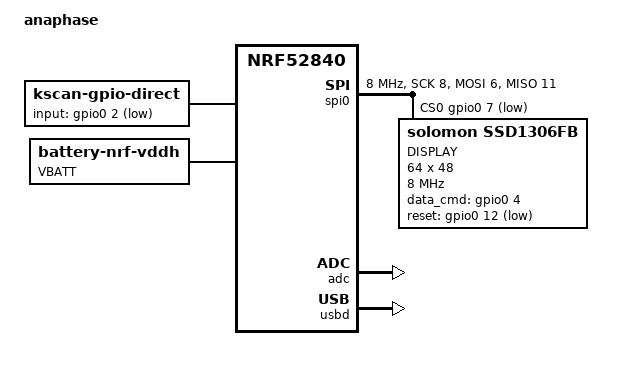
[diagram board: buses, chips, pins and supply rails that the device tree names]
/**
 * Copyright (c) 2021
 *
 * SPDX-License-Identifier: MIT
 */

/dts-v1/;
#include <nordic/nrf52840_qiaa.dtsi>
#include <dt-bindings/zmk/matrix_transform.h>

/ {
    model = "anaphase";
    compatible = "reversebias,anaphase";

    chosen {
        zephyr,code-partition = &code_partition;
        zephyr,sram = &sram0;
        zephyr,flash = &flash0;
        zmk,kscan = &kscan0;
        zmk,battery = &vbatt;
    };

    kscan0: kscan {
        compatible = "zmk,kscan-gpio-direct";
        label = "KSCAN";

        input-gpios
            = <&gpio0 2 (GPIO_ACTIVE_LOW | GPIO_PULL_UP)>
            ;
    };

    vbatt: vbatt {
        compatible = "zmk,battery-nrf-vddh";
        label = "VBATT";
    };
};

&spi0 {
    compatible = "nordic,nrf-spim";
    status = "okay";
    sck-pin = <8>;
    mosi-pin = <6>;
    cs-gpios = <&gpio0 7 GPIO_ACTIVE_LOW>;
    clock-frequency = <8000000>;
    miso-pull-down;
    // unused pin, but needed by SPI definition
    miso-pin = <11>;

    oled: ssd1306@0 {
        compatible = "solomon,ssd1306fb";
        reg = <0>;
        label = "DISPLAY";
        data_cmd-gpios = <&gpio0 4 0>;
        reset-gpios = <&gpio0 12 GPIO_ACTIVE_LOW>;
        spi-max-frequency = <8000000>;
        width = <64>;
        height = <48>;
        segment-offset = <0>;
        page-offset = <0>;
        display-offset = <0>;
        multiplex-ratio = <31>;
        com-sequential;
        prechargep = <0x22>;
    };
};

&adc {
    status = "okay";
};

&gpiote {
    status = "okay";
};

&gpio0 {
    status = "okay";
};

&gpio1 {
    status = "okay";
};

&usbd {
    status = "okay";
};

&flash0 {
    // For more information, see
    // https://docs.zephyrproject.org/latest/reference/storage/flash_map/flash_map.html
    partitions {
        compatible = "fixed-partitions";
        #address-cells = <1>;
        #size-cells = <1>;

        sd_partition: partition@0 {
            label = "softdevice";
            reg = <0x00000000 0x00026000>;
        };
        code_partition: partition@1000 {
            label = "code_partition";
            reg = <0x00001000 0x000d3000>;
        };

        // The flash starting at 0x000d4000 and ending at
        // 0x000f3fff is reserved for use by the application.

        // Storage partition will be used by FCB/LittleFS/NVS if enabled.
        storage_partition: partition@d4000 {
            label = "storage";
            reg = <0x000d4000 0x00020000>;
        };

        boot_partition: partition@f4000 {
            label = "adafruit_boot";
            reg = <0x000f4000 0x0000c000>;
        };
    };
};
